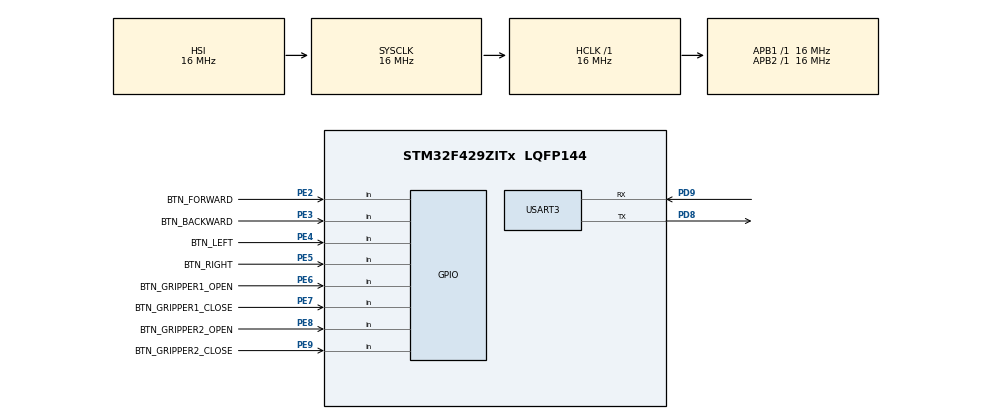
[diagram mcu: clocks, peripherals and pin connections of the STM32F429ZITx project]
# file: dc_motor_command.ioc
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Mcu.Family=STM32F4
Mcu.Name=STM32F429ZITx
Mcu.Package=LQFP144
NVIC.PriorityGroup=NVIC_PRIORITYGROUP_4
NVIC.USART3_IRQn=true\:0\:0\:false\:false\:true\:true\:true\:true
PD8.Mode=Asynchronous
PD8.Signal=USART3_TX
PD9.Mode=Asynchronous
PD9.Signal=USART3_RX
PE2.GPIO_Label=BTN_FORWARD
PE2.GPIO_PuPd=GPIO_PULLUP
PE2.Signal=GPIO_Input
PE3.GPIO_Label=BTN_BACKWARD
PE3.GPIO_PuPd=GPIO_PULLUP
PE3.Signal=GPIO_Input
PE4.GPIO_Label=BTN_LEFT
PE4.GPIO_PuPd=GPIO_PULLUP
PE4.Signal=GPIO_Input
PE5.GPIO_Label=BTN_RIGHT
PE5.GPIO_PuPd=GPIO_PULLUP
PE5.Signal=GPIO_Input
PE6.GPIO_Label=BTN_GRIPPER1_OPEN
PE6.GPIO_PuPd=GPIO_PULLUP
PE6.Signal=GPIO_Input
PE7.GPIO_Label=BTN_GRIPPER1_CLOSE
PE7.GPIO_PuPd=GPIO_PULLUP
PE7.Signal=GPIO_Input
PE8.GPIO_Label=BTN_GRIPPER2_OPEN
PE8.GPIO_PuPd=GPIO_PULLUP
PE8.Signal=GPIO_Input
PE9.GPIO_Label=BTN_GRIPPER2_CLOSE
PE9.GPIO_PuPd=GPIO_PULLUP
PE9.Signal=GPIO_Input
ProjectManager.HeapSize=0x200
ProjectManager.StackSize=0x400
ProjectManager.TargetToolchain=STM32CubeIDE
RCC.AHBFreq_Value=16000000
RCC.APB1Freq_Value=16000000
RCC.APB2Freq_Value=16000000
RCC.CortexFreq_Value=16000000
RCC.HSE_VALUE=25000000
RCC.HSI_VALUE=16000000
RCC.LSE_VALUE=32768
RCC.SYSCLKFreq_VALUE=16000000
RCC.VCOOutputFreq_Value=192000000
USART3.VirtualMode=VM_ASYNC
board=custom

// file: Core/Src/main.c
/* USER CODE BEGIN Header */
/**
  ******************************************************************************
  * @file           : main.c
  * @brief          : Main program body
  ******************************************************************************
  * @attention
  *
  * Copyright (c) 2026 STMicroelectronics.
  * All rights reserved.
  *
  * This software is licensed under terms that can be found in the LICENSE file
  * in the root directory of this software component.
  * If no LICENSE file comes with this software, it is provided AS-IS.
  *
  ******************************************************************************
  */
/* USER CODE END Header */
#include "main.h"

/* USER CODE BEGIN Includes */
#include <stdio.h>
#include "command_uart.h"
#include "button_input.h"
#include "command_protocol.h"
/* USER CODE END Includes */

UART_HandleTypeDef huart3;

/* USER CODE BEGIN PV */
static uint32_t button_update_tick;
static uint32_t command_send_tick;
/* USER CODE END PV */

void SystemClock_Config(void);
static void MX_GPIO_Init(void);
static void MX_USART3_UART_Init(void);

int main(void)
{

  /* MCU Configuration--------------------------------------------------------*/

  /* Reset of all peripherals, Initializes the Flash interface and the Systick. */
  HAL_Init();

  /* Configure the system clock */
  SystemClock_Config();

  /* Initialize all configured peripherals */
  MX_GPIO_Init();
  MX_USART3_UART_Init();
  /* USER CODE BEGIN 2 */
  CommandUart_Init(&huart3);
  ButtonInput_Init();
  CommandProtocol_Init();

  button_update_tick = HAL_GetTick();
  command_send_tick = HAL_GetTick();

  /* USER CODE END 2 */

  /* Infinite loop */
  /* USER CODE BEGIN WHILE */
  while (1)
  {
	  uint32_t now = HAL_GetTick();

	  if ((now - button_update_tick) >= 10U)
	  {
	      button_update_tick = now;
	      ButtonInput_Update();
	  }

	  if ((now - command_send_tick) >= 50U)
	  {
	      command_send_tick = now;

	      CommandProtocol_SendButtons(
	          ButtonInput_GetState()
	      );
	  }
    /* USER CODE END WHILE */

  }
}

void SystemClock_Config(void)
{
  RCC_OscInitTypeDef RCC_OscInitStruct = {0};
  RCC_ClkInitTypeDef RCC_ClkInitStruct = {0};

  /** Configure the main internal regulator output voltage
  */
  __HAL_RCC_PWR_CLK_ENABLE();
  __HAL_PWR_VOLTAGESCALING_CONFIG(PWR_REGULATOR_VOLTAGE_SCALE3);

  /** Initializes the RCC Oscillators according to the specified parameters
  * in the RCC_OscInitTypeDef structure.
  */
  RCC_OscInitStruct.OscillatorType = RCC_OSCILLATORTYPE_HSI;
  RCC_OscInitStruct.HSIState = RCC_HSI_ON;
  RCC_OscInitStruct.HSICalibrationValue = RCC_HSICALIBRATION_DEFAULT;
  RCC_OscInitStruct.PLL.PLLState = RCC_PLL_NONE;
  if (HAL_RCC_OscConfig(&RCC_OscInitStruct) != HAL_OK)
  {
    Error_Handler();
  }

  /** Initializes the CPU, AHB and APB buses clocks
  */
  RCC_ClkInitStruct.ClockType = RCC_CLOCKTYPE_HCLK|RCC_CLOCKTYPE_SYSCLK
                              |RCC_CLOCKTYPE_PCLK1|RCC_CLOCKTYPE_PCLK2;
  RCC_ClkInitStruct.SYSCLKSource = RCC_SYSCLKSOURCE_HSI;
  RCC_ClkInitStruct.AHBCLKDivider = RCC_SYSCLK_DIV1;
  RCC_ClkInitStruct.APB1CLKDivider = RCC_HCLK_DIV1;
  RCC_ClkInitStruct.APB2CLKDivider = RCC_HCLK_DIV1;

  if (HAL_RCC_ClockConfig(&RCC_ClkInitStruct, FLASH_LATENCY_0) != HAL_OK)
  {
    Error_Handler();
  }
}

static void MX_USART3_UART_Init(void)
{

  huart3.Instance = USART3;
  huart3.Init.BaudRate = 115200;
  huart3.Init.WordLength = UART_WORDLENGTH_8B;
  huart3.Init.StopBits = UART_STOPBITS_1;
  huart3.Init.Parity = UART_PARITY_NONE;
  huart3.Init.Mode = UART_MODE_TX_RX;
  huart3.Init.HwFlowCtl = UART_HWCONTROL_NONE;
  huart3.Init.OverSampling = UART_OVERSAMPLING_16;
  if (HAL_UART_Init(&huart3) != HAL_OK)
  {
    Error_Handler();
  }

}

static void MX_GPIO_Init(void)
{
  GPIO_InitTypeDef GPIO_InitStruct = {0};

  /* GPIO Ports Clock Enable */
  __HAL_RCC_GPIOE_CLK_ENABLE();
  __HAL_RCC_GPIOD_CLK_ENABLE();

  /*Configure GPIO pins : BTN_FORWARD_Pin BTN_BACKWARD_Pin BTN_LEFT_Pin BTN_RIGHT_Pin
                           BTN_GRIPPER1_OPEN_Pin BTN_GRIPPER1_CLOSE_Pin BTN_GRIPPER2_OPEN_Pin BTN_GRIPPER2_CLOSE_Pin */
  GPIO_InitStruct.Pin = BTN_FORWARD_Pin|BTN_BACKWARD_Pin|BTN_LEFT_Pin|BTN_RIGHT_Pin
                          |BTN_GRIPPER1_OPEN_Pin|BTN_GRIPPER1_CLOSE_Pin|BTN_GRIPPER2_OPEN_Pin|BTN_GRIPPER2_CLOSE_Pin;
  GPIO_InitStruct.Mode = GPIO_MODE_INPUT;
  GPIO_InitStruct.Pull = GPIO_PULLUP;
  HAL_GPIO_Init(GPIOE, &GPIO_InitStruct);

}

void Error_Handler(void)
{
  __disable_irq();
  while (1)
  {
  }
}
